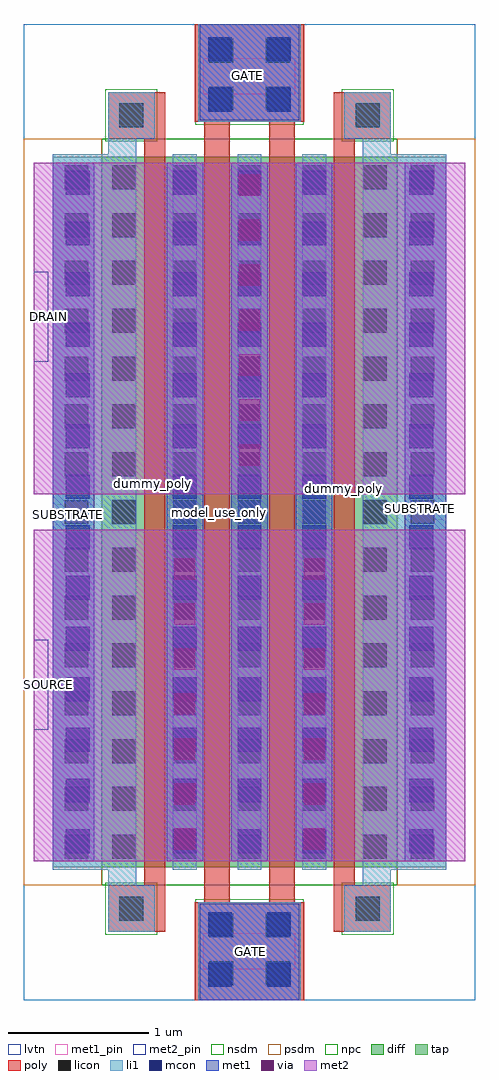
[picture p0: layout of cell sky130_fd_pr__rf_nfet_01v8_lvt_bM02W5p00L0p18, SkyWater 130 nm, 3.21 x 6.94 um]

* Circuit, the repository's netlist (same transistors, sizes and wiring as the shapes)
* Copyright 2020 The SkyWater PDK Authors
*
* Licensed under the Apache License, Version 2.0 (the "License");
* you may not use this file except in compliance with the License.
* You may obtain a copy of the License at
*
*     https://www.apache.org/licenses/LICENSE-2.0
*
* Unless required by applicable law or agreed to in writing, software
* distributed under the License is distributed on an "AS IS" BASIS,
* WITHOUT WARRANTIES OR CONDITIONS OF ANY KIND, either express or implied.
* See the License for the specific language governing permissions and
* limitations under the License.
*
* SPDX-License-Identifier: Apache-2.0


.subckt sky130_fd_pr__rf_nfet_01v8_lvt_bM02W5p00L0p18 DRAIN GATE SOURCE SUBSTRATE
X0 SOURCE SUBSTRATE SUBSTRATE SUBSTRATE sky130_fd_pr__nfet_01v8_lvt w=5.05e+06u l=150000u
X1 DRAIN GATE SOURCE SUBSTRATE sky130_fd_pr__nfet_01v8_lvt w=5.05e+06u l=180000u
X2 SUBSTRATE SUBSTRATE SOURCE SUBSTRATE sky130_fd_pr__nfet_01v8_lvt w=5.05e+06u l=150000u
X3 SOURCE GATE DRAIN SUBSTRATE sky130_fd_pr__nfet_01v8_lvt w=5.05e+06u l=180000u
.ends

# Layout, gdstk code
import gdstk
lib = gdstk.Library(unit=1e-6, precision=1e-09)
def R(c, l, rs):  # rectangles x0, y0, x1, y1
    for r in rs: c.add(gdstk.rectangle(r[:2], r[2:], *l))
def A(c, l, x, y, w, h, nx, ny, dx, dy):  # array of equal rectangles
    R(c, l, [(x+i*dx, y+j*dy, x+i*dx+w, y+j*dy+h) for i in range(nx) for j in range(ny)])
diff = (65, 20)
tap = (65, 44)
poly = (66, 20)
licon = (66, 44)
li1 = (67, 20)
mcon = (67, 44)
met1_pin = (68, 16)
met1 = (68, 20)
via = (68, 44)
met2_pin = (69, 16)
met2 = (69, 20)
nsdm = (93, 44)
psdm = (94, 20)
npc = (95, 20)
lvtn = (125, 44)

sky130_fd_pr__rf_nfet_01 = lib.new_cell('sky130_fd_pr__rf_nfet_01v8_lvt_bM02W5p00L0p18')
R(sky130_fd_pr__rf_nfet_01, diff, [(0.555,0.945,2.655,5.995)])
R(sky130_fd_pr__rf_nfet_01, tap, [(0.205,0.945,0.555,5.995), (2.655,0.945,3.005,5.995)])
R(sky130_fd_pr__rf_nfet_01, poly, [(1.215,0,1.995,0.695), (0.6,0.485,0.93,0.815), (0.855,0.485,1.005,6.455), (2.205,0.485,2.355,6.455), (2.28,0.485,2.61,0.815), (1.285,0.695,1.465,6.245), (1.745,0.695,1.925,6.245), (0.6,6.125,0.93,6.455), (2.28,6.125,2.61,6.455), (1.215,6.245,1.995,6.94)])
A(sky130_fd_pr__rf_nfet_01, licon, 0.29, 1.005, 0.17, 0.17, 1, 15, 0, 0.34)
A(sky130_fd_pr__rf_nfet_01, licon, 0.63, 1.005, 0.17, 0.17, 1, 15, 0, 0.34)
A(sky130_fd_pr__rf_nfet_01, licon, 1.06, 1.005, 0.17, 0.17, 3, 15, 0.46, 0.34)
A(sky130_fd_pr__rf_nfet_01, licon, 2.41, 1.005, 0.17, 0.17, 1, 15, 0, 0.34)
A(sky130_fd_pr__rf_nfet_01, licon, 2.75, 1.005, 0.17, 0.17, 1, 15, 0, 0.34)
R(sky130_fd_pr__rf_nfet_01, licon, [(1.32,0.105,1.49,0.275), (1.72,0.105,1.89,0.275), (1.32,0.445,1.49,0.615), (1.72,0.445,1.89,0.615), (0.68,0.565,0.85,0.735), (2.36,0.565,2.53,0.735), (0.68,6.205,0.85,6.375), (2.36,6.205,2.53,6.375), (1.32,6.325,1.49,6.495), (1.72,6.325,1.89,6.495), (1.32,6.665,1.49,6.835), (1.72,6.665,1.89,6.835)])
A(sky130_fd_pr__rf_nfet_01, li1, 1.06, 0.925, 0.17, 5.09, 3, 1, 0.46, 0)
A(sky130_fd_pr__rf_nfet_01, li1, 1.06, 2.125, 0.17, 2.69, 3, 1, 0.46, 0)
R(sky130_fd_pr__rf_nfet_01, li1, [(1.24,0,1.97,0.695), (0.6,0.485,0.93,0.815), (2.28,0.485,2.61,0.815), (0.6,0.815,0.8,0.925), (2.41,0.815,2.61,0.925), (0.205,0.925,0.8,6.015), (2.41,0.925,3.005,6.015), (0.32,1.045,0.49,5.895), (2.72,1.045,2.89,5.895), (0.6,6.015,0.8,6.125), (2.41,6.015,2.61,6.125), (0.6,6.125,0.93,6.455), (2.28,6.125,2.61,6.455), (1.24,6.245,1.97,6.94)])
A(sky130_fd_pr__rf_nfet_01, mcon, 0.3, 1.045, 0.17, 0.17, 1, 14, 0, 0.36)
A(sky130_fd_pr__rf_nfet_01, mcon, 1.06, 1.045, 0.17, 0.17, 3, 14, 0.46, 0.36)
A(sky130_fd_pr__rf_nfet_01, mcon, 2.74, 1.045, 0.17, 0.17, 1, 14, 0, 0.36)
R(sky130_fd_pr__rf_nfet_01, mcon, [(1.31,0.095,1.48,0.265), (1.73,0.095,1.9,0.265), (1.31,0.455,1.48,0.625), (1.73,0.455,1.9,0.625), (1.31,6.315,1.48,6.485), (1.73,6.315,1.9,6.485), (1.31,6.675,1.48,6.845), (1.73,6.675,1.9,6.845)])
R(sky130_fd_pr__rf_nfet_01, met1_pin, [(1.275,0.22,1.93,0.475), (0.205,3.375,0.5,3.525), (2.71,3.415,3.005,3.565), (1.275,6.44,1.93,6.695)])
A(sky130_fd_pr__rf_nfet_01, met1, 1.015, 0.985, 0.26, 4.97, 3, 1, 0.46, 0)
R(sky130_fd_pr__rf_nfet_01, met1, [(1.25,0,1.96,0.685), (0.205,0.985,0.5,5.955), (1.015,0.985,1.275,3.225), (1.935,0.985,2.195,3.225), (2.71,0.985,3.005,5.955), (1.475,3.715,1.735,5.955), (1.25,6.255,1.96,6.94)])
A(sky130_fd_pr__rf_nfet_01, via, 1.07, 1.07, 0.15, 0.15, 1, 7, 0, 0.32)
A(sky130_fd_pr__rf_nfet_01, via, 1.99, 1.07, 0.15, 0.15, 1, 7, 0, 0.32)
A(sky130_fd_pr__rf_nfet_01, via, 1.53, 3.8, 0.15, 0.15, 1, 7, 0, 0.32)
R(sky130_fd_pr__rf_nfet_01, met2_pin, [(0.07,1.92,0.175,2.56), (0.07,4.54,0.175,5.18)])
R(sky130_fd_pr__rf_nfet_01, met2, [(0.07,0.985,3.14,3.345), (1.015,0.985,1.275,3.225), (1.935,0.985,2.195,3.225), (0.07,3.595,3.14,5.955), (1.475,3.715,1.735,5.955)])
R(sky130_fd_pr__rf_nfet_01, nsdm, [(0.555,0.815,2.655,6.125)])
R(sky130_fd_pr__rf_nfet_01, psdm, [(0,0.815,0.555,6.125), (2.655,0.815,3.21,6.125)])
R(sky130_fd_pr__rf_nfet_01, npc, [(1.22,0,1.99,0.715), (0.58,0.465,0.95,0.835), (2.26,0.465,2.63,0.835), (0.58,6.105,0.95,6.475), (2.26,6.105,2.63,6.475), (1.22,6.225,1.99,6.94)])
R(sky130_fd_pr__rf_nfet_01, lvtn, [(0,0,3.21,6.94)])
sky130_fd_pr__rf_nfet_01.add(gdstk.Label('dummy_poly', (0.915,3.67), layer=83, texttype=44))
sky130_fd_pr__rf_nfet_01.add(gdstk.Label('dummy_poly', (2.27,3.635), layer=83, texttype=44))
sky130_fd_pr__rf_nfet_01.add(gdstk.Label('GATE', (1.59,6.575), layer=68, texttype=5))
sky130_fd_pr__rf_nfet_01.add(gdstk.Label('GATE', (1.615,0.345), layer=68, texttype=5))
sky130_fd_pr__rf_nfet_01.add(gdstk.Label('SUBSTRATE', (2.82,3.495), layer=68, texttype=16))
sky130_fd_pr__rf_nfet_01.add(gdstk.Label('SUBSTRATE', (0.315,3.455), layer=68, texttype=16))
sky130_fd_pr__rf_nfet_01.add(gdstk.Label('model_use_only', (1.39,3.47), layer=66, texttype=83))
sky130_fd_pr__rf_nfet_01.add(gdstk.Label('model_use_only', (1.82,3.47), layer=66, texttype=83))
sky130_fd_pr__rf_nfet_01.add(gdstk.Label('model_use_only', (2.27,3.47), layer=66, texttype=83))
sky130_fd_pr__rf_nfet_01.add(gdstk.Label('model_use_only', (0.915,3.47), layer=66, texttype=83))
sky130_fd_pr__rf_nfet_01.add(gdstk.Label('SOURCE', (0.175,2.24), layer=69, texttype=5))
sky130_fd_pr__rf_nfet_01.add(gdstk.Label('DRAIN', (0.175,4.86), layer=69, texttype=5))

lib.write_gds('sky130_fd_pr__rf_nfet_01v8_lvt_bM02W5p00L0p18.gds')
